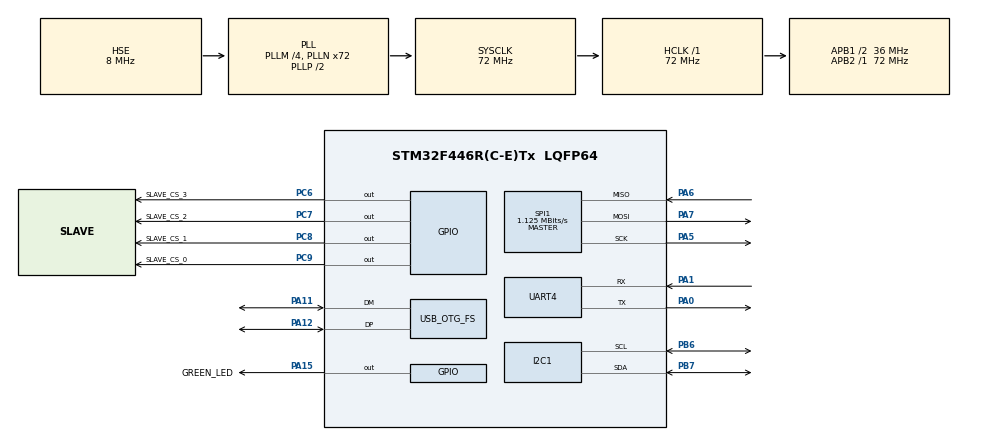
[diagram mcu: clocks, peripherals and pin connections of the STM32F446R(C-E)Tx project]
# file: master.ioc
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Dma.Request0=SPI1_RX
Dma.Request1=SPI1_TX
Dma.SPI1_RX.0.Direction=DMA_PERIPH_TO_MEMORY
Dma.SPI1_RX.0.FIFOMode=DMA_FIFOMODE_DISABLE
Dma.SPI1_RX.0.Instance=DMA2_Stream0
Dma.SPI1_RX.0.MemDataAlignment=DMA_MDATAALIGN_BYTE
Dma.SPI1_RX.0.MemInc=DMA_MINC_ENABLE
Dma.SPI1_RX.0.Mode=DMA_NORMAL
Dma.SPI1_RX.0.PeriphDataAlignment=DMA_PDATAALIGN_BYTE
Dma.SPI1_RX.0.PeriphInc=DMA_PINC_DISABLE
Dma.SPI1_RX.0.Priority=DMA_PRIORITY_LOW
Dma.SPI1_TX.1.Direction=DMA_MEMORY_TO_PERIPH
Dma.SPI1_TX.1.FIFOMode=DMA_FIFOMODE_DISABLE
Dma.SPI1_TX.1.Instance=DMA2_Stream3
Dma.SPI1_TX.1.MemDataAlignment=DMA_MDATAALIGN_BYTE
Dma.SPI1_TX.1.MemInc=DMA_MINC_ENABLE
Dma.SPI1_TX.1.Mode=DMA_NORMAL
Dma.SPI1_TX.1.PeriphDataAlignment=DMA_PDATAALIGN_BYTE
Dma.SPI1_TX.1.PeriphInc=DMA_PINC_DISABLE
Dma.SPI1_TX.1.Priority=DMA_PRIORITY_LOW
Mcu.Family=STM32F4
Mcu.Name=STM32F446R(C-E)Tx
Mcu.Package=LQFP64
NVIC.DMA2_Stream0_IRQn=true\:0\:0\:false\:false\:true\:false\:true\:true
NVIC.DMA2_Stream3_IRQn=true\:0\:0\:false\:false\:true\:false\:true\:true
NVIC.I2C1_EV_IRQn=true\:0\:0\:false\:false\:true\:true\:true\:true
NVIC.OTG_FS_IRQn=true\:0\:0\:false\:false\:true\:false\:true\:true
NVIC.PriorityGroup=NVIC_PRIORITYGROUP_4
NVIC.SPI1_IRQn=true\:0\:0\:false\:false\:true\:true\:true\:true
PA0-WKUP.Mode=Asynchronous
PA0-WKUP.Signal=UART4_TX
PA1.Mode=Asynchronous
PA1.Signal=UART4_RX
PA11.Mode=Device_Only
PA11.Signal=USB_OTG_FS_DM
PA12.Mode=Device_Only
PA12.Signal=USB_OTG_FS_DP
PA13.Mode=Serial_Wire
PA13.Signal=SYS_JTMS-SWDIO
PA14.Mode=Serial_Wire
PA14.Signal=SYS_JTCK-SWCLK
PA15.GPIO_Label=GREEN_LED
PA15.Signal=GPIO_Output
PA5.Mode=Full_Duplex_Master
PA5.Signal=SPI1_SCK
PA6.Mode=Full_Duplex_Master
PA6.Signal=SPI1_MISO
PA7.Mode=Full_Duplex_Master
PA7.Signal=SPI1_MOSI
PB6.Mode=I2C
PB6.Signal=I2C1_SCL
PB7.Mode=I2C
PB7.Signal=I2C1_SDA
PC6.GPIO_Label=SLAVE_CS_3
PC6.Signal=GPIO_Output
PC7.GPIO_Label=SLAVE_CS_2
PC7.Signal=GPIO_Output
PC8.GPIO_Label=SLAVE_CS_1
PC8.Signal=GPIO_Output
PC9.GPIO_Label=SLAVE_CS_0
PC9.Signal=GPIO_Output
PH0-OSC_IN.Mode=HSE-External-Oscillator
PH0-OSC_IN.Signal=RCC_OSC_IN
PH1-OSC_OUT.Mode=HSE-External-Oscillator
PH1-OSC_OUT.Signal=RCC_OSC_OUT
ProjectManager.HeapSize=0x200
ProjectManager.StackSize=0x400
ProjectManager.TargetToolchain=STM32CubeIDE
RCC.AHBFreq_Value=72000000
RCC.APB1CLKDivider=RCC_HCLK_DIV2
RCC.APB1Freq_Value=36000000
RCC.APB1TimFreq_Value=72000000
RCC.APB2Freq_Value=72000000
RCC.APB2TimCLKDivider=1
RCC.APB2TimFreq_Value=72000000
RCC.CortexFreq_Value=72000000
RCC.HCLKFreq_Value=72000000
RCC.HSE_VALUE=8000000
RCC.PLLM=4
RCC.PLLN=72
RCC.PLLQ=3
RCC.SYSCLKFreq_VALUE=72000000
RCC.SYSCLKSource=RCC_SYSCLKSOURCE_PLLCLK
RCC.USBFreq_Value=48000000
RCC.VCOOutputFreq_Value=144000000
SPI1.BaudRatePrescaler=SPI_BAUDRATEPRESCALER_64
SPI1.CLKPhase=SPI_PHASE_1EDGE
SPI1.CLKPolarity=SPI_POLARITY_LOW
SPI1.CalculateBaudRate=1.125 MBits/s
SPI1.Direction=SPI_DIRECTION_2LINES
SPI1.Mode=SPI_MODE_MASTER
SPI1.VirtualType=VM_MASTER
UART4.VirtualMode=Asynchronous
USB_DEVICE.CLASS_NAME_FS=CDC
USB_DEVICE.VirtualMode-CDC_FS=Cdc
USB_DEVICE.VirtualModeFS=Cdc_FS
USB_OTG_FS.VirtualMode=Device_Only
VP_USB_DEVICE_VS_USB_DEVICE_CDC_FS.Mode=CDC_FS
board=custom

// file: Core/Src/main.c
/* USER CODE BEGIN Header */
/**
  ******************************************************************************
  * @file           : main.c
  * @brief          : Main program body
  ******************************************************************************
  * @attention
  *
  * Copyright (c) 2025 STMicroelectronics.
  * All rights reserved.
  *
  * This software is licensed under terms that can be found in the LICENSE file
  * in the root directory of this software component.
  * If no LICENSE file comes with this software, it is provided AS-IS.
  *
  ******************************************************************************
  */
/* USER CODE END Header */
#include "main.h"
#include "usb_device.h"

/* USER CODE BEGIN Includes */
#include "master_app.h"
#include "usb_link.h"
#include "master_cycle.h"
#include "imu.h"   /* optional BMI088 IMU on I2C1 (merged from the IMU PR) */
/* USER CODE END Includes */

I2C_HandleTypeDef hi2c1;

SPI_HandleTypeDef hspi1;
DMA_HandleTypeDef hdma_spi1_rx;
DMA_HandleTypeDef hdma_spi1_tx;

UART_HandleTypeDef huart4;

void SystemClock_Config(void);
static void MX_GPIO_Init(void);
static void MX_DMA_Init(void);
static void MX_I2C1_Init(void);
static void MX_SPI1_Init(void);
static void MX_UART4_Init(void);

/* USER CODE BEGIN 0 */

/* Stdio guard: the USB CDC stream carries ONLY framed protocol messages
   (docs/protocol.md), so libc stdio must never reach it. This STRONG _write
   overrides the weak one in syscalls.c and swallows any stray printf/puts —
   it also removes the weak-undefined __io_putchar call path (a branch to 0).
   Real diagnostics go through debug_printf (UART4, -DMASTER_DEBUG_UART). */
int _write(int file, char *ptr, int len)
{
  (void)file; (void)ptr;
  return len;
}

/* USER CODE END 0 */

int main(void)
{

  /* MCU Configuration--------------------------------------------------------*/

  /* Reset of all peripherals, Initializes the Flash interface and the Systick. */
  HAL_Init();

  /* Configure the system clock */
  SystemClock_Config();

  /* USER CODE BEGIN SysInit */
  /* USB soft-disconnect at boot. After an ST-Link reflash/reset the host often keeps
     the stale CDC-ACM device node, and the OTG OUT endpoint can wedge so multi-packet
     ROBOT_CMD frames never complete — previously only a power cycle cleared it. Driving
     USB D+ (PA12) low for ~10 ms makes the host see a disconnect; when MX_USB_DEVICE_Init
     re-enables the DP pull-up the host re-enumerates fresh, so a reflash alone recovers. */
  __HAL_RCC_GPIOA_CLK_ENABLE();
  {
      GPIO_InitTypeDef dp = {0};
      dp.Pin   = GPIO_PIN_12;            /* USB_OTG_FS D+ */
      dp.Mode  = GPIO_MODE_OUTPUT_PP;
      dp.Pull  = GPIO_NOPULL;
      dp.Speed = GPIO_SPEED_FREQ_LOW;
      HAL_GPIO_Init(GPIOA, &dp);
      HAL_GPIO_WritePin(GPIOA, GPIO_PIN_12, GPIO_PIN_RESET);
      HAL_Delay(10);
      HAL_GPIO_DeInit(GPIOA, GPIO_PIN_12);   /* release; USB init reclaims PA12 as AF */
  }
  /* USER CODE END SysInit */

  /* Initialize all configured peripherals */
  MX_GPIO_Init();
  MX_DMA_Init();
  MX_I2C1_Init();
  MX_SPI1_Init();
  MX_UART4_Init();
  MX_USB_DEVICE_Init();
  /* USER CODE BEGIN 2 */

  /* Optional BMI088 IMU on I2C1. Runs its blocking init (soft-reset + ~420 ms of
     HAL_Delay) here, BEFORE the TIM2 cycle starts, so it never steals cycle time;
     if the IMU is absent the init fails fast (I2C timeouts) and the master runs on. */
  (void)ImuService_Init(&hi2c1);
  master_app_init(&hspi1, &huart4);
  HAL_GPIO_WritePin(GREEN_LED_GPIO_Port, GREEN_LED_Pin, GPIO_PIN_SET);
  HAL_Delay(3000);
  HAL_GPIO_WritePin(GREEN_LED_GPIO_Port, GREEN_LED_Pin, GPIO_PIN_RESET);

  /* Drive the 200 Hz cycle from TIM2 (period from the generated MASTER_POLL_HZ). */
  master_cycle_init(1000000u / MASTER_POLL_HZ);

  /* USER CODE END 2 */

  /* Infinite loop */
  while (1)
  {

    /* USER CODE BEGIN 3 */

	master_app_loop();
  }
  /* USER CODE END 3 */
}

void SystemClock_Config(void)
{
  RCC_OscInitTypeDef RCC_OscInitStruct = {0};
  RCC_ClkInitTypeDef RCC_ClkInitStruct = {0};

  /** Configure the main internal regulator output voltage
  */
  __HAL_RCC_PWR_CLK_ENABLE();
  __HAL_PWR_VOLTAGESCALING_CONFIG(PWR_REGULATOR_VOLTAGE_SCALE3);

  /** Initializes the RCC Oscillators according to the specified parameters
  * in the RCC_OscInitTypeDef structure.
  */
  RCC_OscInitStruct.OscillatorType = RCC_OSCILLATORTYPE_HSE;
  RCC_OscInitStruct.HSEState = RCC_HSE_ON;
  RCC_OscInitStruct.PLL.PLLState = RCC_PLL_ON;
  RCC_OscInitStruct.PLL.PLLSource = RCC_PLLSOURCE_HSE;
  RCC_OscInitStruct.PLL.PLLM = 4;
  RCC_OscInitStruct.PLL.PLLN = 72;
  RCC_OscInitStruct.PLL.PLLP = RCC_PLLP_DIV2;
  RCC_OscInitStruct.PLL.PLLQ = 3;
  RCC_OscInitStruct.PLL.PLLR = 2;
  if (HAL_RCC_OscConfig(&RCC_OscInitStruct) != HAL_OK)
  {
    Error_Handler();
  }

  /** Initializes the CPU, AHB and APB buses clocks
  */
  RCC_ClkInitStruct.ClockType = RCC_CLOCKTYPE_HCLK|RCC_CLOCKTYPE_SYSCLK
                              |RCC_CLOCKTYPE_PCLK1|RCC_CLOCKTYPE_PCLK2;
  RCC_ClkInitStruct.SYSCLKSource = RCC_SYSCLKSOURCE_PLLCLK;
  RCC_ClkInitStruct.AHBCLKDivider = RCC_SYSCLK_DIV1;
  RCC_ClkInitStruct.APB1CLKDivider = RCC_HCLK_DIV2;
  RCC_ClkInitStruct.APB2CLKDivider = RCC_HCLK_DIV1;

  if (HAL_RCC_ClockConfig(&RCC_ClkInitStruct, FLASH_LATENCY_2) != HAL_OK)
  {
    Error_Handler();
  }
}

static void MX_I2C1_Init(void)
{

  hi2c1.Instance = I2C1;
  hi2c1.Init.ClockSpeed = 100000;
  hi2c1.Init.DutyCycle = I2C_DUTYCYCLE_2;
  hi2c1.Init.OwnAddress1 = 0;
  hi2c1.Init.AddressingMode = I2C_ADDRESSINGMODE_7BIT;
  hi2c1.Init.DualAddressMode = I2C_DUALADDRESS_DISABLE;
  hi2c1.Init.OwnAddress2 = 0;
  hi2c1.Init.GeneralCallMode = I2C_GENERALCALL_DISABLE;
  hi2c1.Init.NoStretchMode = I2C_NOSTRETCH_DISABLE;
  if (HAL_I2C_Init(&hi2c1) != HAL_OK)
  {
    Error_Handler();
  }

}

static void MX_SPI1_Init(void)
{

  /* USER CODE BEGIN SPI1_Init 1 */
  /* Map the generated MASTER_SPI_PRESCALER_DIV (system_config.h) → HAL enum. */
#if   MASTER_SPI_PRESCALER_DIV == 2
#define MASTER_SPI_BAUD SPI_BAUDRATEPRESCALER_2
#elif MASTER_SPI_PRESCALER_DIV == 4
#define MASTER_SPI_BAUD SPI_BAUDRATEPRESCALER_4
#elif MASTER_SPI_PRESCALER_DIV == 8
#define MASTER_SPI_BAUD SPI_BAUDRATEPRESCALER_8
#elif MASTER_SPI_PRESCALER_DIV == 16
#define MASTER_SPI_BAUD SPI_BAUDRATEPRESCALER_16
#elif MASTER_SPI_PRESCALER_DIV == 32
#define MASTER_SPI_BAUD SPI_BAUDRATEPRESCALER_32
#elif MASTER_SPI_PRESCALER_DIV == 64
#define MASTER_SPI_BAUD SPI_BAUDRATEPRESCALER_64
#elif MASTER_SPI_PRESCALER_DIV == 128
#define MASTER_SPI_BAUD SPI_BAUDRATEPRESCALER_128
#elif MASTER_SPI_PRESCALER_DIV == 256
#define MASTER_SPI_BAUD SPI_BAUDRATEPRESCALER_256
#else
#error "MASTER_SPI_PRESCALER_DIV must be a power of two in [2,256]"
#endif
  /* USER CODE END SPI1_Init 1 */
  /* SPI1 parameter configuration*/
  hspi1.Instance = SPI1;
  hspi1.Init.Mode = SPI_MODE_MASTER;
  hspi1.Init.Direction = SPI_DIRECTION_2LINES;
  hspi1.Init.DataSize = SPI_DATASIZE_8BIT;
  hspi1.Init.CLKPolarity = SPI_POLARITY_LOW;
  hspi1.Init.CLKPhase = SPI_PHASE_1EDGE;
  hspi1.Init.NSS = SPI_NSS_SOFT;
  hspi1.Init.BaudRatePrescaler = MASTER_SPI_BAUD;
  hspi1.Init.FirstBit = SPI_FIRSTBIT_MSB;
  hspi1.Init.TIMode = SPI_TIMODE_DISABLE;
  hspi1.Init.CRCCalculation = SPI_CRCCALCULATION_DISABLE;
  hspi1.Init.CRCPolynomial = 10;
  if (HAL_SPI_Init(&hspi1) != HAL_OK)
  {
    Error_Handler();
  }

}

static void MX_UART4_Init(void)
{

  huart4.Instance = UART4;
  huart4.Init.BaudRate = 115200;
  huart4.Init.WordLength = UART_WORDLENGTH_8B;
  huart4.Init.StopBits = UART_STOPBITS_1;
  huart4.Init.Parity = UART_PARITY_NONE;
  huart4.Init.Mode = UART_MODE_TX_RX;
  huart4.Init.HwFlowCtl = UART_HWCONTROL_NONE;
  huart4.Init.OverSampling = UART_OVERSAMPLING_16;
  if (HAL_UART_Init(&huart4) != HAL_OK)
  {
    Error_Handler();
  }

}

static void MX_DMA_Init(void)
{

  /* DMA controller clock enable */
  __HAL_RCC_DMA2_CLK_ENABLE();

  /* DMA interrupt init */
  /* DMA2_Stream0_IRQn interrupt configuration */
  HAL_NVIC_SetPriority(DMA2_Stream0_IRQn, 0, 0);
  HAL_NVIC_EnableIRQ(DMA2_Stream0_IRQn);
  /* DMA2_Stream3_IRQn interrupt configuration */
  HAL_NVIC_SetPriority(DMA2_Stream3_IRQn, 0, 0);
  HAL_NVIC_EnableIRQ(DMA2_Stream3_IRQn);

}

static void MX_GPIO_Init(void)
{
  GPIO_InitTypeDef GPIO_InitStruct = {0};

  /* GPIO Ports Clock Enable */
  __HAL_RCC_GPIOH_CLK_ENABLE();
  __HAL_RCC_GPIOA_CLK_ENABLE();
  __HAL_RCC_GPIOC_CLK_ENABLE();
  __HAL_RCC_GPIOB_CLK_ENABLE();

  /*Configure GPIO pin Output Level */
  HAL_GPIO_WritePin(GPIOC, SLAVE_CS_3_Pin|SLAVE_CS_2_Pin|SLAVE_CS_1_Pin|SLAVE_CS_0_Pin, GPIO_PIN_RESET);

  /*Configure GPIO pin Output Level */
  HAL_GPIO_WritePin(GREEN_LED_GPIO_Port, GREEN_LED_Pin, GPIO_PIN_RESET);

  /*Configure GPIO pins : SLAVE_CS_3_Pin SLAVE_CS_2_Pin SLAVE_CS_1_Pin SLAVE_CS_0_Pin */
  GPIO_InitStruct.Pin = SLAVE_CS_3_Pin|SLAVE_CS_2_Pin|SLAVE_CS_1_Pin|SLAVE_CS_0_Pin;
  GPIO_InitStruct.Mode = GPIO_MODE_OUTPUT_PP;
  GPIO_InitStruct.Pull = GPIO_NOPULL;
  GPIO_InitStruct.Speed = GPIO_SPEED_FREQ_LOW;
  HAL_GPIO_Init(GPIOC, &GPIO_InitStruct);

  /*Configure GPIO pin : GREEN_LED_Pin */
  GPIO_InitStruct.Pin = GREEN_LED_Pin;
  GPIO_InitStruct.Mode = GPIO_MODE_OUTPUT_PP;
  GPIO_InitStruct.Pull = GPIO_NOPULL;
  GPIO_InitStruct.Speed = GPIO_SPEED_FREQ_LOW;
  HAL_GPIO_Init(GREEN_LED_GPIO_Port, &GPIO_InitStruct);

}

void Error_Handler(void)
{
  __disable_irq();
  while (1)
  {
  }
}
